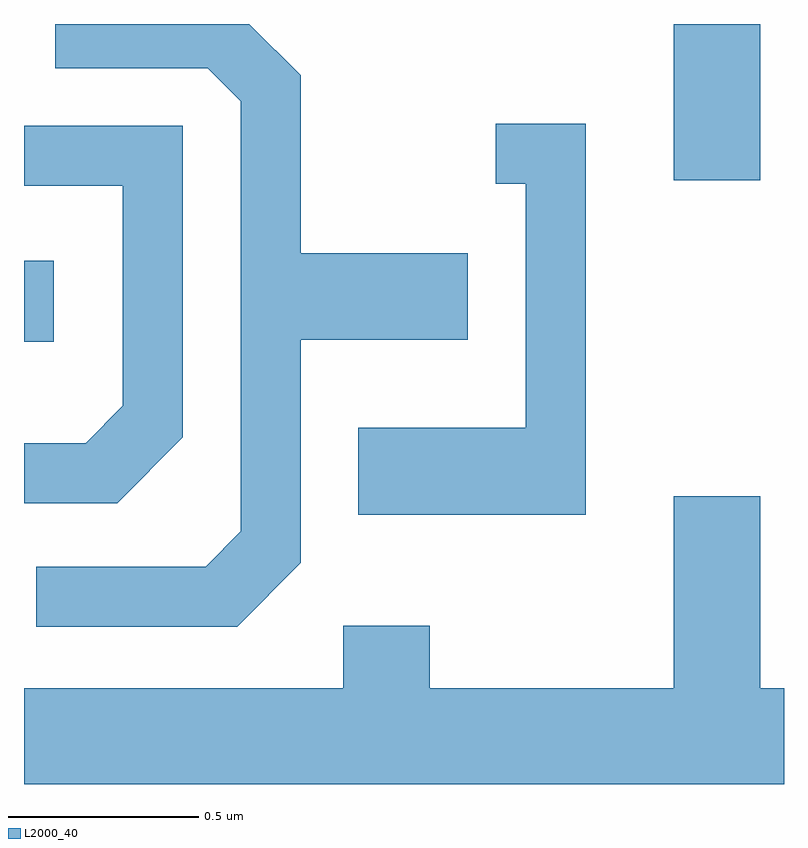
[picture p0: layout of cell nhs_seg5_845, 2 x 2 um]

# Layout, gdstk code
import gdstk
lib = gdstk.Library(unit=1e-6, precision=1e-09)
def R(c, l, rs):  # rectangles x0, y0, x1, y1
    for r in rs: c.add(gdstk.rectangle(r[:2], r[2:], *l))
def P(c, l, *ps):  # polygons
    for p in ps: c.add(gdstk.Polygon(p, *l))
L2000_40 = (2000, 40)

nhs_seg5_845 = lib.new_cell('nhs_seg5_845')
R(nhs_seg5_845, L2000_40, [(191.611,1420.236,191.689,1420.449), (193.321,1420.661,193.549,1421.072)])
P(nhs_seg5_845, L2000_40, [(192.339,1419.654),(192.339,1420.241),(192.779,1420.241),(192.779,1420.469),(192.339,1420.469),(192.339,1420.937),(192.204,1421.072),(191.693,1421.072),(191.693,1420.956),(192.094,1420.956),(192.181,1420.869),(192.181,1419.737),(192.089,1419.644),(191.643,1419.644),(191.643,1419.486),(192.172,1419.486)],
  [(193.089,1420.809),(192.853,1420.809),(192.853,1420.651),(192.931,1420.651),(192.931,1420.009),(192.491,1420.009),(192.491,1419.781),(193.089,1419.781)],
  [(192.029,1419.984),(192.029,1420.804),(191.611,1420.804),(191.611,1420.646),(191.871,1420.646),(191.871,1420.067),(191.774,1419.969),(191.611,1419.969),(191.611,1419.811),(191.857,1419.811)],
  [(193.611,1419.324),(193.549,1419.324),(193.549,1419.829),(193.321,1419.829),(193.321,1419.324),(192.679,1419.324),(192.679,1419.489),(192.451,1419.489),(192.451,1419.324),(191.611,1419.324),(191.611,1419.072),(193.611,1419.072)])

lib.write_gds('nhs_seg5_845.gds')
